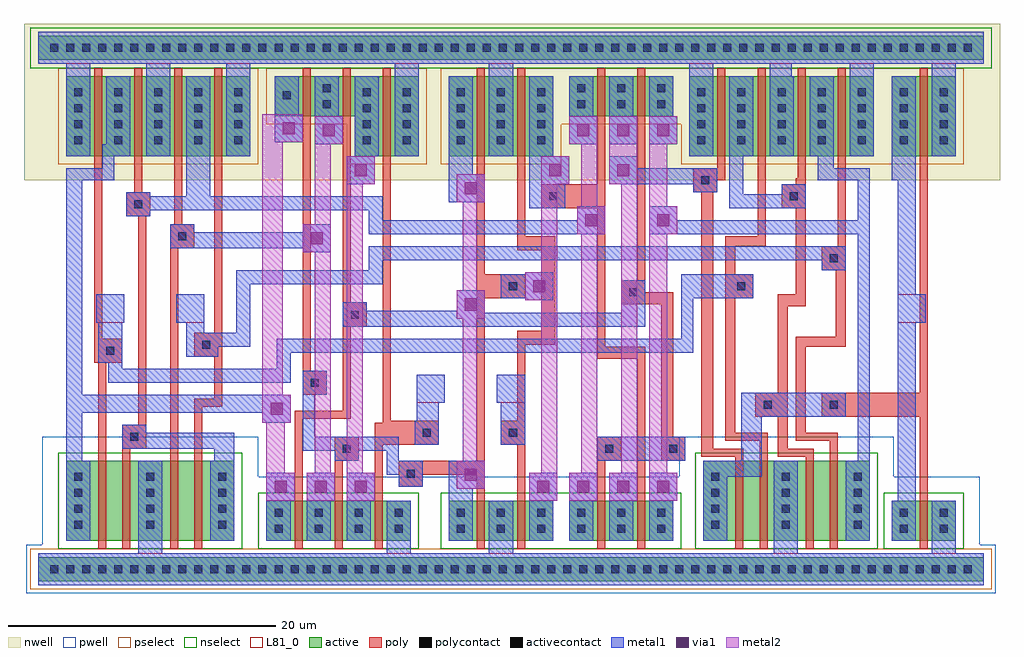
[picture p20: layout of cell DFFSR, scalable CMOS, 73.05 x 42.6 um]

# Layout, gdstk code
import gdstk
lib = gdstk.Library(unit=1e-6, precision=1e-09)
def R(c, l, rs):  # rectangles x0, y0, x1, y1
    for r in rs: c.add(gdstk.rectangle(r[:2], r[2:], *l))
def A(c, l, x, y, w, h, nx, ny, dx, dy):  # array of equal rectangles
    R(c, l, [(x+i*dx, y+j*dy, x+i*dx+w, y+j*dy+h) for i in range(nx) for j in range(ny)])
pwell = (41, 0)
nwell = (42, 0)
active = (43, 0)
pselect = (44, 0)
nselect = (45, 0)
poly = (46, 0)
polycontact = (47, 0)
activecontact = (48, 0)
metal1 = (49, 0)
via1 = (50, 0)
metal2 = (51, 0)
L81_0 = (81, 0)

dffsr = lib.new_cell('DFFSR')
R(dffsr, pwell, [(-1.8,-1.8,70.8,1.8), (-0.6,1.8,69.6,6.9), (-0.6,6.9,15.6,9.9), (47.1,6.9,63.15,9.9)])
R(dffsr, nwell, [(-1.95,29.1,71.1,40.8)])
R(dffsr, active, [(-0.9,-0.9,69.9,0.9), (1.2,2.1,13.8,8.1), (16.2,2.1,27,5.1), (29.85,2.1,37.65,5.1), (38.85,2.1,46.65,5.1), (48.9,2.1,61.35,8.1), (63,2.1,67.8,5.1), (1.2,30.9,15,36.9), (22.8,30.9,27.6,33.9), (29.85,30.9,37.65,36.9), (47.85,30.9,61.65,36.9), (63,30.9,67.8,36.9), (16.8,33.9,27.6,36.9), (38.85,33.9,46.65,36.9), (-0.9,38.1,69.9,39.9)])
R(dffsr, pselect, [(-1.5,-1.5,70.5,1.5), (0.6,30.3,15.6,37.5), (22.2,30.3,28.2,33.3), (29.25,30.3,38.25,33.3), (47.25,30.3,68.4,33.3), (16.2,33.3,28.2,37.5), (29.25,33.3,68.4,37.5)])
R(dffsr, nselect, [(0.6,1.5,14.4,8.7), (15.6,1.5,27.6,5.7), (29.25,1.5,47.25,5.7), (48.3,1.5,61.95,8.7), (62.4,1.5,68.4,5.7), (-1.5,37.5,70.5,40.5)])
R(dffsr, poly, [(3.6,1.5,4.2,15.45), (5.4,1.5,6,9), (9,1.5,9.6,24), (10.8,1.5,11.4,12.15), (18.3,1.5,18.9,11.25), (21.3,1.5,21.9,8.1), (24.3,1.5,24.9,9.3), (31.95,1.5,32.55,7.05), (34.95,1.5,35.55,9.3), (40.95,1.5,41.55,8.1), (43.95,1.5,44.55,15.75), (51.3,1.5,51.9,8.4), (53.1,1.5,53.7,9.6), (56.55,1.5,57.15,8.4), (58.35,1.5,58.95,9.6), (65.1,1.5,65.7,11.4), (26.1,6.15,27.9,7.05), (26.1,7.05,32.55,8.1), (21.3,8.1,23.1,9.9), (31.95,8.1,32.55,20.25), (40.95,8.1,42.75,9.9), (45.75,8.1,47.55,9.9), (48.75,8.4,51.9,9), (54.45,8.4,57.15,9), (5.4,9,7.2,10.8), (48.75,9,49.65,28.2), (54.45,9,55.2,11.4), (24.3,9.3,29.1,10.95), (33.75,9.3,35.55,11.1), (50.55,9.6,53.7,10.2), (55.8,9.6,58.95,10.2), (45.75,9.9,46.65,19.8), (50.55,10.2,51.3,20.25), (55.8,10.2,56.55,16.65), (6.6,10.8,7.2,26.4), (24.9,10.95,29.1,11.1), (24.9,11.1,25.5,37.5), (34.95,11.1,35.55,16.8), (18.3,11.25,22.5,11.85), (52.8,11.4,55.2,13.2), (57.75,11.4,65.7,13.2), (21.9,11.85,22.5,18.15), (10.8,12.15,12.9,12.75), (12.3,12.75,12.9,15.9), (18.9,13.05,20.7,14.85), (54.45,13.2,55.2,19.65), (65.1,13.2,65.7,37.5), (18.9,14.85,19.5,37.5), (3.3,15.45,5.4,17.25), (40.95,15.75,44.55,16.65), (10.8,15.9,12.9,17.7), (40.95,16.65,41.55,27), (55.8,16.65,59.55,17.4), (34.95,16.8,37.8,17.85), (3.3,17.25,3.9,37.5), (58.8,17.4,59.55,22.35), (12.3,17.7,12.9,37.5), (36.75,17.85,37.8,23.85), (21.9,18.15,23.7,19.95), (54.45,19.65,56.55,20.55), (42.75,19.8,46.65,20.7), (21.9,19.95,22.5,37.5), (31.95,20.25,35.55,22.05), (50.55,20.25,52.65,22.05), (55.8,20.55,56.55,27), (42.75,20.7,44.55,21.6), (43.95,21.6,44.55,37.5), (31.95,22.05,32.55,37.5), (50.55,22.05,51.3,24.15), (57.75,22.35,59.55,24.15), (34.95,23.85,37.8,24.9), (9,24,10.8,25.8), (50.55,24.15,53.55,24.9), (58.95,24.15,59.55,37.5), (34.95,24.9,35.55,37.5), (52.95,24.9,53.55,37.5), (9.3,25.8,9.9,37.5), (5.7,26.4,7.5,28.2), (36.75,27,41.55,28.8), (54.75,27,56.55,28.8), (6.3,28.2,6.9,37.5), (48.15,28.2,49.95,29.1), (40.95,28.8,41.55,37.5), (55.8,28.8,56.55,29.25), (48.15,29.1,50.55,30), (55.95,29.25,56.55,37.5), (49.95,30,50.55,37.5)])
R(dffsr, polycontact, [(26.7,6.82,27.3,7.42), (21.9,8.7,22.5,9.3), (41.55,8.7,42.15,9.3), (46.35,8.7,46.95,9.3), (6,9.6,6.6,10.2), (27.9,9.9,28.5,10.5), (34.35,9.9,34.95,10.5), (53.4,12,54,12.6), (58.35,12,58.95,12.6), (19.5,13.65,20.1,14.25), (4.2,16.05,4.8,16.65), (11.4,16.5,12,17.1), (22.5,18.75,23.1,19.35), (43.35,20.4,43.95,21), (34.35,20.85,34.95,21.45), (51.45,20.85,52.05,21.45), (58.35,22.95,58.95,23.55), (9.6,24.6,10.2,25.2), (6.3,27,6.9,27.6), (37.35,27.6,37.95,28.2), (55.35,27.6,55.95,28.2), (48.75,28.8,49.35,29.4)])
A(dffsr, activecontact, 0, -0.3, 0.6, 0.6, 58, 2, 1.2, 39)
A(dffsr, activecontact, 16.8, 2.7, 0.6, 0.6, 4, 2, 3, 1.2)
A(dffsr, activecontact, 30.45, 2.7, 0.6, 0.6, 6, 2, 3, 1.2)
A(dffsr, activecontact, 1.8, 3, 0.6, 0.6, 3, 4, 5.4, 1.2)
A(dffsr, activecontact, 49.5, 3, 0.6, 0.6, 1, 4, 0, 1.2)
A(dffsr, activecontact, 54.75, 3, 0.6, 0.6, 1, 4, 0, 1.2)
A(dffsr, activecontact, 60.15, 3, 0.6, 0.6, 1, 4, 0, 1.2)
A(dffsr, activecontact, 1.8, 31.8, 0.6, 0.6, 5, 4, 3, 1.2)
A(dffsr, activecontact, 23.4, 31.8, 0.6, 0.6, 1, 4, 0, 1.2)
A(dffsr, activecontact, 26.4, 31.8, 0.6, 0.6, 1, 4, 0, 1.2)
A(dffsr, activecontact, 30.45, 31.8, 0.6, 0.6, 3, 4, 3, 1.2)
A(dffsr, activecontact, 48.45, 31.8, 0.6, 0.6, 5, 4, 3, 1.2)
A(dffsr, activecontact, 63.6, 31.8, 0.6, 0.6, 1, 4, 0, 1.2)
A(dffsr, activecontact, 66.6, 31.8, 0.6, 0.6, 1, 4, 0, 1.2)
A(dffsr, activecontact, 39.45, 34.5, 0.6, 0.6, 3, 2, 3, 1.2)
R(dffsr, activecontact, [(63.6,2.7,64.2,3.3), (66.6,2.7,67.2,3.3), (63.6,3.9,64.2,4.5), (66.6,3.9,67.2,4.5), (20.4,34.5,21,35.1), (17.4,35.17,18,35.77), (20.4,35.7,21,36.3)])
A(dffsr, metal1, 16.2, 2.1, 1.8, 3, 3, 1, 3, 0)
A(dffsr, metal1, 35.85, 2.1, 1.8, 3, 4, 1, 3, 0)
A(dffsr, metal1, 16.2, 5.1, 2.1, 2.1, 3, 1, 3, 0)
A(dffsr, metal1, 35.85, 5.1, 2.1, 2.1, 4, 1, 3, 0)
A(dffsr, metal1, 1.2, 30.9, 1.8, 6.9, 3, 1, 6, 0)
A(dffsr, metal1, 50.85, 30.9, 1.8, 6, 3, 1, 3, 0)
A(dffsr, metal1, 38.85, 31.8, 2.1, 2.1, 3, 1, 3, 0)
A(dffsr, metal1, 38.85, 33.9, 1.8, 3, 3, 1, 3, 0)
R(dffsr, metal1, [(-0.9,-1.2,69.9,1.2), (6.6,1.2,8.4,8.1), (25.2,1.2,27,5.1), (32.85,1.2,34.65,5.1), (54.15,1.2,55.95,8.1), (66,1.2,67.8,5.1), (1.2,2.1,3,8.1), (12,2.1,13.8,8.1), (29.85,2.1,31.65,6), (48.9,2.1,50.7,6.9), (59.55,2.1,61.35,8.1), (63,2.1,64.8,5.1), (63.45,5.1,64.8,18.45), (29.85,6,32.55,8.1), (26.1,6.15,27.9,7.05), (48.9,6.9,53.25,8.1), (25.2,7.05,27.9,8.1), (1.2,8.1,2.4,11.7), (12.3,8.1,13.8,9), (21.3,8.1,23.1,8.85), (25.2,8.1,26.1,8.85), (40.95,8.1,47.55,9.9), (51.75,8.1,53.25,11.4), (60.45,8.1,61.35,25.05), (18.9,8.85,26.1,9.9), (5.4,9,13.8,10.2), (27.3,9.3,29.1,11.1), (33.75,9.3,35.55,12.45), (18.9,9.9,19.8,13.05), (5.4,10.2,7.2,10.8), (15.9,10.95,18,11.7), (27.45,11.1,29.1,12.45), (51.75,11.4,59.55,13.2), (1.2,11.7,18,13.05), (27.45,12.45,29.55,14.55), (33.45,12.45,35.55,14.55), (1.2,13.05,2.4,29.1), (18.9,13.05,20.7,14.85), (4.35,13.95,18,15), (4.35,15,5.4,15.45), (16.95,15,18,16.2), (3.6,15.45,5.4,18.45), (10.2,15.9,12.6,16.65), (16.95,16.2,48.15,17.25), (10.2,16.65,15,17.7), (47.25,17.25,48.15,20.25), (10.2,17.7,11.55,18.45), (13.95,17.7,15,21.3), (21.9,18.15,44.55,19.2), (3.45,18.45,5.55,20.55), (9.45,18.45,11.55,20.55), (63.45,18.45,65.55,20.55), (21.9,19.2,32.55,19.35), (42.75,19.2,44.55,21.6), (21.9,19.35,23.7,19.95), (30.45,19.35,32.55,20.85), (35.55,20.1,37.65,20.25), (33.75,20.25,37.65,22.05), (47.25,20.25,52.65,22.05), (63.45,20.55,64.8,29.1), (13.95,21.3,24.9,22.35), (35.55,22.05,37.65,22.2), (23.85,22.35,24.9,23.1), (57.75,22.35,59.55,23.1), (23.85,23.1,59.55,24.15), (18.9,23.7,21,24), (9,24,21,25.2), (23.85,25.05,41.55,26.1), (44.85,25.05,61.35,26.1), (9,25.2,10.8,25.8), (18.9,25.2,21,25.8), (23.85,26.1,24.9,26.85), (39.45,26.1,41.55,27.15), (44.85,26.1,46.95,27.15), (60.45,26.1,61.35,29.1), (5.7,26.4,7.5,26.85), (5.7,26.85,24.9,27.9), (35.85,27,38.55,28.8), (50.85,27,56.55,28.05), (29.85,27.45,32.55,29.55), (5.7,27.9,7.5,28.2), (10.2,27.9,12,36.9), (50.85,28.05,51.9,30.9), (54.75,28.05,56.55,28.8), (48.15,28.2,49.95,28.8), (22.2,28.8,24.3,30.9), (35.85,28.8,38.85,30.9), (41.85,28.8,49.95,30), (1.2,29.1,4.8,30), (57.45,29.1,61.35,30), (63,29.1,64.8,36.9), (29.85,29.55,31.65,36.9), (3.9,30,4.8,30.9), (41.85,30,43.95,30.9), (57.45,30,58.65,30.9), (3.9,30.9,6,31.8), (22.8,30.9,24.6,36.9), (25.8,30.9,27.6,37.8), (32.85,30.9,34.65,37.8), (35.85,30.9,37.65,36.9), (47.85,30.9,49.65,37.8), (59.85,30.9,61.65,37.8), (66,30.9,67.8,37.8), (4.2,31.8,6,36.9), (19.8,31.8,21.9,33.9), (16.8,31.95,18.9,34.05), (19.8,33.9,21.6,36.9), (16.8,34.05,18.6,36.9), (53.85,36.9,55.5,37.8), (-0.9,37.8,69.9,40.2)])
A(dffsr, via1, 16.8, 5.7, 0.9, 0.9, 3, 1, 3, 0)
A(dffsr, via1, 36.45, 5.7, 0.9, 0.9, 4, 1, 3, 0)
A(dffsr, via1, 39.45, 32.4, 0.9, 0.9, 3, 1, 3, 0)
R(dffsr, via1, [(31.05,6.6,31.95,7.5), (16.5,11.55,17.4,12.45), (31.05,19.35,31.95,20.25), (36.15,20.7,37.05,21.6), (19.5,24.3,20.4,25.2), (40.05,25.65,40.95,26.55), (45.45,25.65,46.35,26.55), (31.05,28.05,31.95,28.95), (22.8,29.4,23.7,30.3), (37.35,29.4,38.25,30.3), (42.45,29.4,43.35,30.3), (20.4,32.4,21.3,33.3), (17.4,32.55,18.3,33.45)])
A(dffsr, metal2, 16.2, 5.1, 2.1, 2.1, 3, 1, 3, 0)
A(dffsr, metal2, 35.85, 5.1, 2.1, 2.1, 4, 1, 3, 0)
R(dffsr, metal2, [(30.45,6,32.55,8.1), (16.2,7.2,17.55,10.95), (19.8,7.2,21,23.7), (22.2,7.2,23.4,28.8), (36.75,7.2,37.95,20.1), (39.75,7.2,40.95,25.05), (42.75,7.2,43.95,28.8), (44.85,7.2,46.2,25.05), (30.9,8.1,31.95,18.75), (15.9,10.95,18,13.05), (15.9,13.05,17.4,31.95), (30.45,18.75,32.55,20.85), (35.55,20.1,37.95,22.2), (30.9,20.85,31.95,27.45), (36.75,22.2,37.95,28.8), (18.9,23.7,21,25.8), (39.45,25.05,41.55,27.15), (44.85,25.05,46.95,27.15), (19.8,25.8,21,31.8), (39.75,27.15,40.95,31.8), (44.85,27.15,46.2,31.8), (30.45,27.45,32.55,29.55), (22.2,28.8,24.3,30.9), (36.75,28.8,38.85,30.9), (41.85,28.8,43.95,33.9), (19.8,31.8,21.9,33.9), (38.85,31.8,40.95,33.9), (44.85,31.8,46.95,33.9), (15.9,31.95,18.9,34.05)])
R(dffsr, L81_0, [(-0.9,-1.2,69.9,1.2), (27.45,12.45,29.55,14.55), (33.45,12.45,35.55,14.55), (3.45,18.45,5.55,20.55), (9.45,18.45,11.55,20.55), (63.45,18.45,65.55,20.55), (-0.9,37.8,69.9,40.2)])

lib.write_gds('DFFSR.gds')
